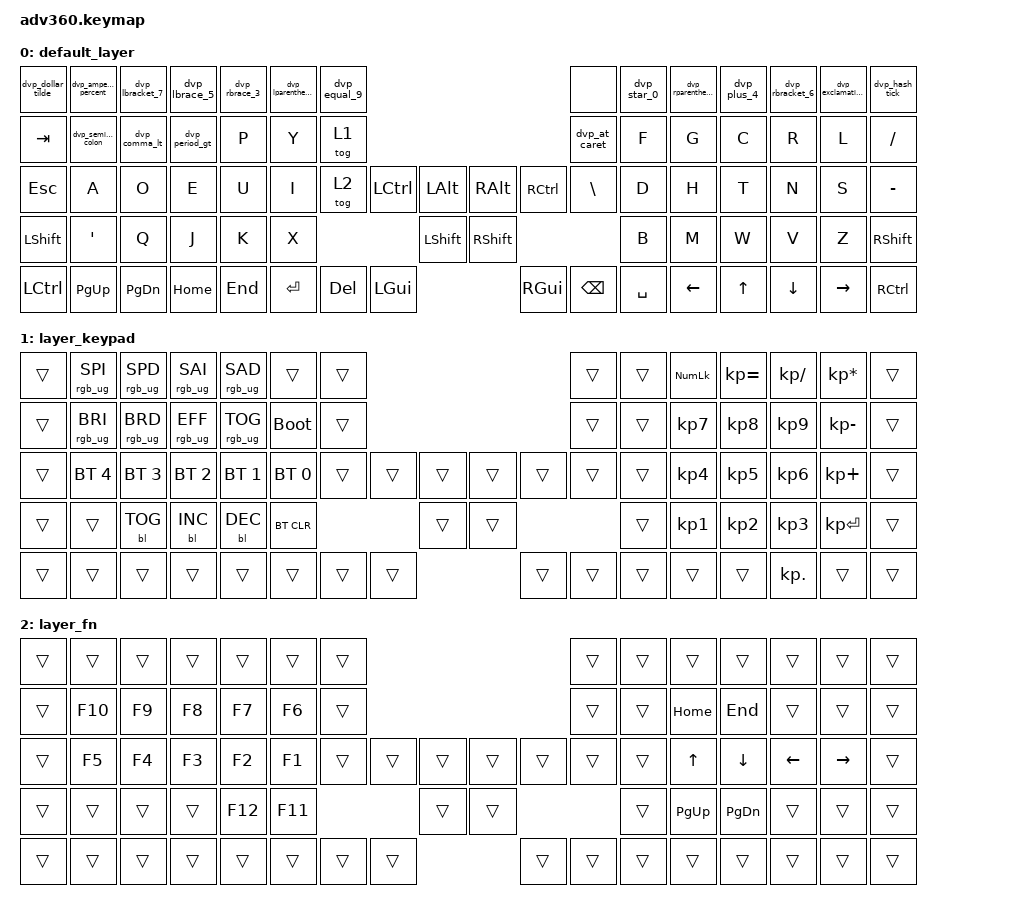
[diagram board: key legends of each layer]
/*
 * Copyright (c) 2020 The ZMK Contributors
 *
 * SPDX-License-Identifier: MIT
 */
/* THIS FILE WAS GENERATED!
 *
 * This file was generated automatically. You may or may not want to
 * edit it directly.
 */

#include <behaviors.dtsi>
#include <dt-bindings/zmk/backlight.h>
#include <dt-bindings/zmk/bt.h>
#include <dt-bindings/zmk/keys.h>
#include <dt-bindings/zmk/rgb.h>

/ {
    behaviors {
        #include "macros.dtsi"

        hm: homerow_mods {
            compatible = "zmk,behavior-hold-tap";
            label = "HOMEROW_MODS";
            #binding-cells = <2>;
            tapping-term-ms = <200>;
            quick_tap_ms = <175>;
            flavor = "tap-preferred";
            bindings = <&kp>, <&kp>;
        };

        dvp_dollar_tilde: dvp_dollar_tilde {
            compatible = "zmk,behavior-mod-morph";
            label = "DVP_DOLLAR_TILDE";
            bindings = <&kp DOLLAR>, <&kp TILDE>;

            #binding-cells = <0>;
            mods = <(MOD_LSFT|MOD_RSFT)>;
        };

        dvp_ampersand_percent: dvp_ampersand_percent {
            compatible = "zmk,behavior-mod-morph";
            label = "DVP_AMPERSAND_PERCENT";
            bindings = <&kp AMPERSAND>, <&kp PERCENT>;

            #binding-cells = <0>;
            mods = <(MOD_LSFT|MOD_RSFT)>;
        };

        dvp_lbracket_7: dvp_lbracket_7 {
            compatible = "zmk,behavior-mod-morph";
            label = "DVP_LBRACKET_7";
            bindings = <&kp LEFT_BRACKET>, <&kp KP_NUMBER_7>;

            #binding-cells = <0>;
            mods = <(MOD_LSFT|MOD_RSFT)>;
        };

        dvp_lbrace_5: dvp_lbrace_5 {
            compatible = "zmk,behavior-mod-morph";
            label = "DVP_LBRACE_5";
            bindings = <&kp LEFT_BRACE>, <&kp KP_NUMBER_5>;

            #binding-cells = <0>;
            mods = <(MOD_LSFT|MOD_RSFT)>;
        };

        dvp_rbrace_3: dvp_rbrace_3 {
            compatible = "zmk,behavior-mod-morph";
            label = "DVP_RBRACE_3";
            bindings = <&kp RIGHT_BRACE>, <&kp KP_NUMBER_3>;

            #binding-cells = <0>;
            mods = <(MOD_LSFT|MOD_RSFT)>;
        };

        dvp_lparenthesis_1: dvp_lparenthesis_1 {
            compatible = "zmk,behavior-mod-morph";
            label = "DVP_LPARENTHESIS_1";
            bindings = <&kp LEFT_PARENTHESIS>, <&kp KP_NUMBER_1>;

            #binding-cells = <0>;
            mods = <(MOD_LSFT|MOD_RSFT)>;
        };

        dvp_equal_9: dvp_equal_9 {
            compatible = "zmk,behavior-mod-morph";
            label = "DVP_EQUAL_9";
            bindings = <&kp KP_EQUAL>, <&kp KP_NUMBER_9>;

            #binding-cells = <0>;
            mods = <(MOD_LSFT|MOD_RSFT)>;
        };

        dvp_semicolon_colon: dvp_semicolon_colon {
            compatible = "zmk,behavior-mod-morph";
            label = "DVP_SEMICOLON_COLON";
            bindings = <&kp SEMICOLON>, <&kp COLON>;

            #binding-cells = <0>;
            mods = <(MOD_LSFT|MOD_RSFT)>;
        };

        dvp_comma_lt: dvp_comma_lt {
            compatible = "zmk,behavior-mod-morph";
            label = "DVP_COMMA_LT";
            bindings = <&kp COMMA>, <&kp LESS_THAN>;

            #binding-cells = <0>;
            mods = <(MOD_LSFT|MOD_RSFT)>;
        };

        dvp_period_gt: dvp_period_gt {
            compatible = "zmk,behavior-mod-morph";
            label = "DVP_PERIOD_GT";
            bindings = <&kp PERIOD>, <&kp GREATER_THAN>;

            #binding-cells = <0>;
            mods = <(MOD_LSFT|MOD_RSFT)>;
        };

        dvp_star_0: dvp_star_0 {
            compatible = "zmk,behavior-mod-morph";
            label = "DVP_STAR_0";
            bindings = <&kp STAR>, <&kp KP_NUMBER_0>;

            #binding-cells = <0>;
            mods = <(MOD_LSFT|MOD_RSFT)>;
        };

        dvp_rparenthesis_2: dvp_rparenthesis_2 {
            compatible = "zmk,behavior-mod-morph";
            label = "DVP_RPARENTHESIS_2";
            bindings = <&kp RIGHT_PARENTHESIS>, <&kp KP_NUMBER_2>;

            #binding-cells = <0>;
            mods = <(MOD_LSFT|MOD_RSFT)>;
        };

        dvp_plus_4: dvp_plus_4 {
            compatible = "zmk,behavior-mod-morph";
            label = "DVP_PLUS_4";
            bindings = <&kp PLUS>, <&kp KP_NUMBER_4>;

            #binding-cells = <0>;
            mods = <(MOD_LSFT|MOD_RSFT)>;
        };

        dvp_rbracket_6: dvp_rbracket_6 {
            compatible = "zmk,behavior-mod-morph";
            label = "DVP_RBRACKET_6";
            bindings = <&kp RIGHT_BRACKET>, <&kp KP_NUMBER_6>;

            #binding-cells = <0>;
            mods = <(MOD_LSFT|MOD_RSFT)>;
        };

        dvp_exclamation_8: dvp_exclamation_8 {
            compatible = "zmk,behavior-mod-morph";
            label = "DVP_EXCLAMATION_8";
            bindings = <&kp EXCLAMATION>, <&kp KP_NUMBER_8>;

            #binding-cells = <0>;
            mods = <(MOD_LSFT|MOD_RSFT)>;
        };

        dvp_hash_tick: dvp_hash_tick {
            compatible = "zmk,behavior-mod-morph";
            label = "DVP_HASH_TICK";
            bindings = <&kp HASH>, <&kp GRAVE>;

            #binding-cells = <0>;
            mods = <(MOD_LSFT|MOD_RSFT)>;
        };

        dvp_at_caret: dvp_at_caret {
            compatible = "zmk,behavior-mod-morph";
            label = "DVP_AT_CARET";
            bindings = <&kp AT>, <&kp CARET>;

            #binding-cells = <0>;
            mods = <(MOD_LSFT|MOD_RSFT)>;
        };
    };

    keymap {
        compatible = "zmk,keymap";

        default_layer {
            bindings = <
&dvp_dollar_tilde  &dvp_ampersand_percent  &dvp_lbracket_7  &dvp_lbrace_5   &dvp_rbrace_3  &dvp_lparenthesis_1  &dvp_equal_9                                                                                       &none          &dvp_star_0  &dvp_rparenthesis_2  &dvp_plus_4  &dvp_rbracket_6  &dvp_exclamation_8  &dvp_hash_tick
&kp TAB            &dvp_semicolon_colon    &dvp_comma_lt    &dvp_period_gt  &kp P          &kp Y                &tog 1                                                                                             &dvp_at_caret  &kp F        &kp G                &kp C        &kp R            &kp L               &kp SLASH
&kp ESC            &kp A                   &kp O            &kp E           &kp U          &kp I                &tog 2                   &kp LEFT_CONTROL  &kp LALT      &kp RALT    &kp RIGHT_CONTROL             &kp BACKSLASH  &kp D        &kp H                &kp T        &kp N            &kp S               &kp MINUS
&kp LSHIFT         &kp APOSTROPHE          &kp Q            &kp J           &kp K          &kp X                                                           &kp LSHIFT    &kp RSHIFT                                               &kp B        &kp M                &kp W        &kp V            &kp Z               &kp RSHFT
&kp LCTRL          &kp PG_UP               &kp PG_DN        &kp HOME        &kp END                                           &kp ENTER  &kp DELETE        &kp LGUI      &kp RGUI    &kp BACKSPACE      &kp SPACE                              &kp LEFT             &kp UP       &kp DOWN_ARROW   &kp RIGHT           &kp RCTRL
            >;
        };

        layer_keypad {
            bindings = <
&trans  &rgb_ug RGB_SPI  &rgb_ug RGB_SPD  &rgb_ug RGB_SAI  &rgb_ug RGB_SAD  &trans        &trans                                                    &trans  &trans  &kp KP_NUM  &kp KP_EQUAL  &kp KP_DIVIDE  &kp KP_MULTIPLY  &trans
&trans  &rgb_ug RGB_BRI  &rgb_ug RGB_BRD  &rgb_ug RGB_EFF  &rgb_ug RGB_TOG  &bootloader   &trans                                                    &trans  &trans  &kp KP_N7   &kp KP_N8     &kp KP_N9      &kp KP_MINUS     &trans
&trans  &bt BT_SEL 4     &bt BT_SEL 3     &bt BT_SEL 2     &bt BT_SEL 1     &bt BT_SEL 0  &trans          &trans  &trans    &trans  &trans          &trans  &trans  &kp KP_N4   &kp KP_N5     &kp KP_N6      &kp KP_PLUS      &trans
&trans  &trans           &bl BL_TOG       &bl BL_INC       &bl BL_DEC       &bt BT_CLR                            &trans    &trans                          &trans  &kp KP_N1   &kp KP_N2     &kp KP_N3      &kp KP_ENTER     &trans
&trans  &trans           &trans           &trans           &trans                                 &trans  &trans  &trans    &trans  &trans  &trans                  &trans      &trans        &kp KP_DOT     &trans           &trans
            >;
        };

        layer_fn {
            bindings = <
&trans  &trans   &trans  &trans  &trans   &trans   &trans                                                    &trans  &trans  &trans     &trans     &trans    &trans     &trans
&trans  &kp F10  &kp F9  &kp F8  &kp F7   &kp F6   &trans                                                    &trans  &trans  &kp HOME   &kp END    &trans    &trans     &trans
&trans  &kp F5   &kp F4  &kp F3  &kp F2   &kp F1   &trans          &trans  &trans    &trans  &trans          &trans  &trans  &kp UP     &kp DOWN   &kp LEFT  &kp RIGHT  &trans
&trans  &trans   &trans  &trans  &kp F12  &kp F11                          &trans    &trans                          &trans  &kp PG_UP  &kp PG_DN  &trans    &trans     &trans
&trans  &trans   &trans  &trans  &trans                    &trans  &trans  &trans    &trans  &trans  &trans                  &trans     &trans     &trans    &trans     &trans
            >;
        };
    };
};

